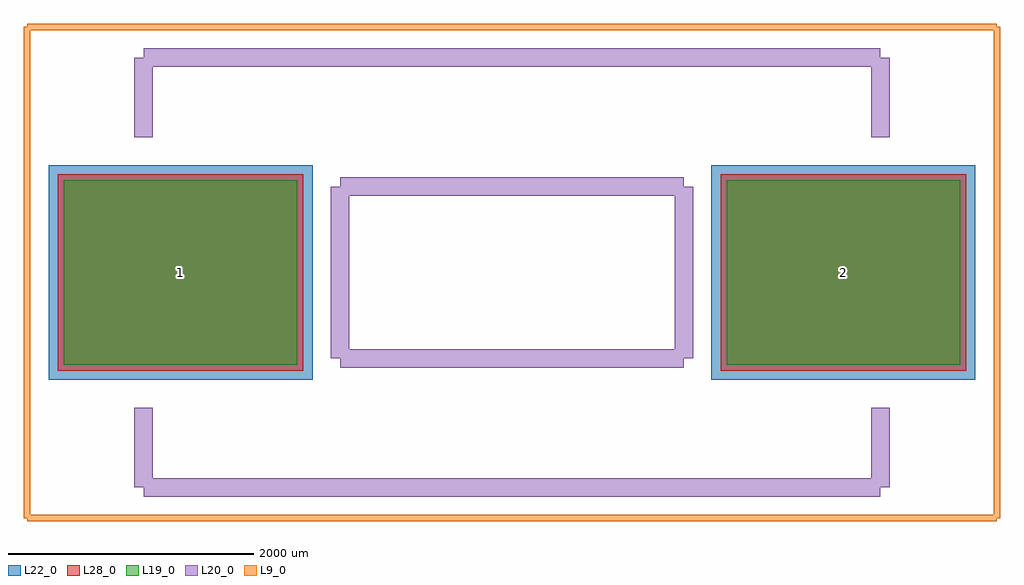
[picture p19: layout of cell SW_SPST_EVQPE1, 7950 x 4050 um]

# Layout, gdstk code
import gdstk
lib = gdstk.Library(unit=1e-6, precision=1e-09)
def R(c, l, rs):  # rectangles x0, y0, x1, y1
    for r in rs: c.add(gdstk.rectangle(r[:2], r[2:], *l))
L9_0 = (9, 0)
L19_0 = (19, 0)
L20_0 = (20, 0)
L22_0 = (22, 0)
L28_0 = (28, 0)

sw_spst_evqpe1 = lib.new_cell('SW_SPST_EVQPE1')
R(sw_spst_evqpe1, L19_0, [(-3650,-750,-1750,750), (1750,-750,3650,750)])
R(sw_spst_evqpe1, L22_0, [(-3775,-875,-1625,875), (1625,-875,3775,875)])
R(sw_spst_evqpe1, L28_0, [(-3700,-800,-1700,800), (1700,-800,3700,800)])
sw_spst_evqpe1.add(gdstk.FlexPath([(-3000,-1750),(3000,-1750)], 149.998, ends="flush", simple_path=True, layer=20, datatype=0))  # L20_0
sw_spst_evqpe1.add(gdstk.FlexPath([(3000,1750),(-3000,1750)], 149.998, ends="flush", simple_path=True, layer=20, datatype=0))  # L20_0
sw_spst_evqpe1.add(gdstk.FlexPath([(-3000,1750),(-3000,1100)], 149.998, ends="flush", simple_path=True, layer=20, datatype=0))  # L20_0
sw_spst_evqpe1.add(gdstk.FlexPath([(-3000,-1100),(-3000,-1750)], 149.998, ends="flush", simple_path=True, layer=20, datatype=0))  # L20_0
sw_spst_evqpe1.add(gdstk.FlexPath([(3000,-1750),(3000,-1100)], 149.998, ends="flush", simple_path=True, layer=20, datatype=0))  # L20_0
sw_spst_evqpe1.add(gdstk.FlexPath([(3000,1750),(3000,1100)], 149.998, ends="flush", simple_path=True, layer=20, datatype=0))  # L20_0
sw_spst_evqpe1.add(gdstk.FlexPath([(-3950,-2000),(-3950,2000)], 50, ends="flush", simple_path=True, layer=9, datatype=0))  # L9_0
sw_spst_evqpe1.add(gdstk.FlexPath([(3950,-2000),(-3950,-2000)], 50, ends="flush", simple_path=True, layer=9, datatype=0))  # L9_0
sw_spst_evqpe1.add(gdstk.FlexPath([(3950,2000),(3950,-2000)], 50, ends="flush", simple_path=True, layer=9, datatype=0))  # L9_0
sw_spst_evqpe1.add(gdstk.FlexPath([(-3950,2000),(3950,2000)], 50, ends="flush", simple_path=True, layer=9, datatype=0))  # L9_0
sw_spst_evqpe1.add(gdstk.FlexPath([(-1400,-700),(-1400,700)], 149.998, ends="flush", simple_path=True, layer=20, datatype=0))  # L20_0
sw_spst_evqpe1.add(gdstk.FlexPath([(1400,-700),(-1400,-700)], 149.998, ends="flush", simple_path=True, layer=20, datatype=0))  # L20_0
sw_spst_evqpe1.add(gdstk.FlexPath([(1400,700),(1400,-700)], 149.998, ends="flush", simple_path=True, layer=20, datatype=0))  # L20_0
sw_spst_evqpe1.add(gdstk.FlexPath([(-1400,700),(1400,700)], 149.998, ends="flush", simple_path=True, layer=20, datatype=0))  # L20_0
sw_spst_evqpe1.add(gdstk.Label('1', (-2700,0), layer=28, texttype=0))
sw_spst_evqpe1.add(gdstk.Label('2', (2700,0), layer=28, texttype=0))
sw_spst_evqpe1.add(gdstk.Label('type', (0,-3000), layer=9, texttype=0))
sw_spst_evqpe1.add(gdstk.Label('devicename', (-900,2700), layer=9, texttype=0))

lib.write_gds('SW_SPST_EVQPE1.gds')
